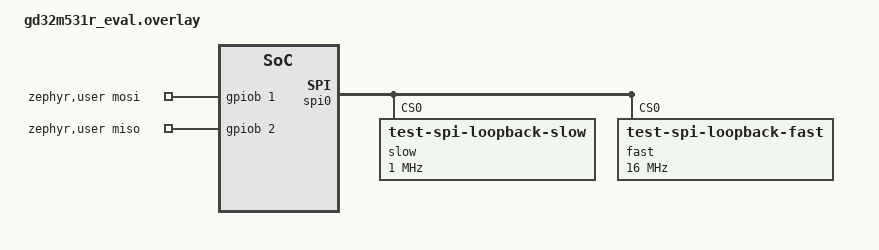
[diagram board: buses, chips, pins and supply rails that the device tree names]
/*
 * Copyright (c) 2026 GigaDevice Semiconductor Inc.
 *
 * SPDX-License-Identifier: Apache-2.0
 */

/*
 * GD32M531R-EVAL SPI loopback test overlay.
 *
 * Use alternate SPI0 pins (PB0/SCK, PB2/MISO, PB1/MOSI) instead of the
 * board-default PF pins, so that the on-board GD25Q16 Flash (which shares
 * the PF SPI0 bus) is unaffected by the loopback short.
 *
 * Hardware requirement: short PB1 (MOSI) to PB2 (MISO).
 */

&pinctrl {
	spi0_loopback_pb: spi0_loopback_pb {
		group1 {
			pinmux = <SPI0_SCK_PB0>, <SPI0_MISO_PB2>, <SPI0_MOSI_PB1>;
		};
	};
};

/ {
	zephyr,user {
		/* Used by parts of spi_loopback deinit checks. */
		mosi-gpios = <&gpiob 1 GPIO_ACTIVE_HIGH>;
		miso-gpios = <&gpiob 2 GPIO_ACTIVE_HIGH>;
	};
};

/* Board DTS has a SPI NOR at spi0 reg=0; disable it for loopback test nodes. */
&spi_flash0 {
	status = "disabled";
};

&spi0 {
	status = "okay";
	pinctrl-0 = <&spi0_loopback_pb>;

	slow@0 {
		compatible = "test-spi-loopback-slow";
		reg = <0>;
		spi-max-frequency = <1000000>;
	};

	fast@0 {
		compatible = "test-spi-loopback-fast";
		reg = <0>;
		spi-max-frequency = <16000000>;
	};
};
